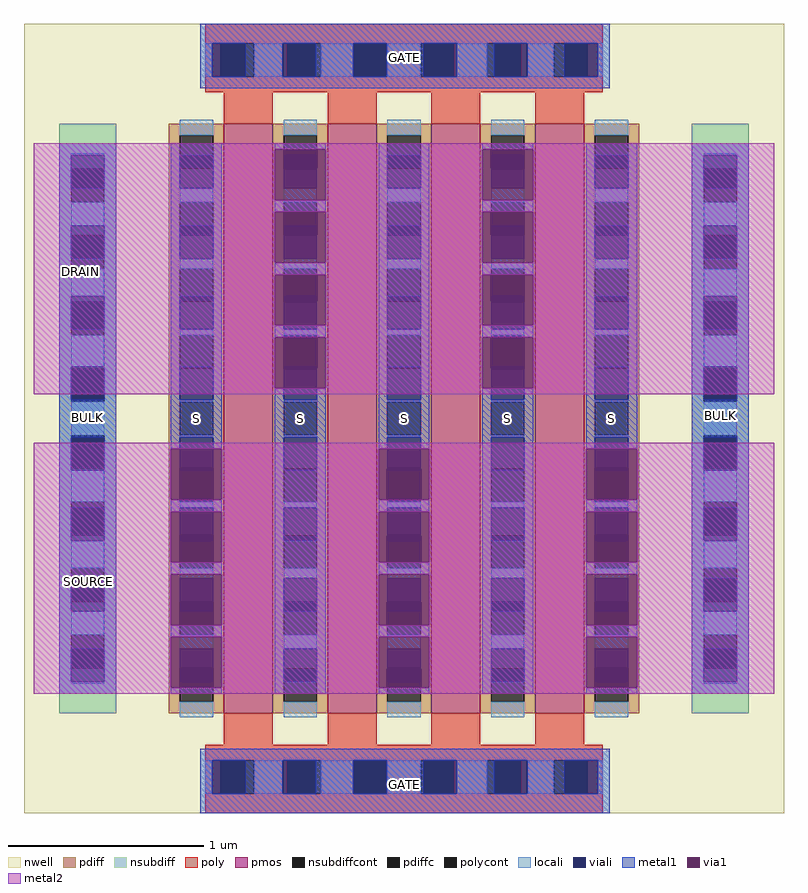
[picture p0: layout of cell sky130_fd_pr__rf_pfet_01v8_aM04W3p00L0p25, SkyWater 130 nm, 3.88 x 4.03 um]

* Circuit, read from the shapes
.subckt sky130_fd_pr__rf_pfet_01v8_aM04W3p00L0p25 BULK DRAIN GATE SOURCE
XM1 DRAIN GATE SOURCE BULK sky130_fd_pr__pfet_01v8 w=3.01 l=0.25 m=4
.ends

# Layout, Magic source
magic
tech sky130A
magscale 1 2
<< nwell >>
rect 0 0 776 806
<< pmos >>
rect 204 102 254 704
rect 310 102 360 704
rect 416 102 466 704
rect 522 102 572 704
<< pdiff >>
rect 148 692 204 704
rect 148 658 159 692
rect 193 658 204 692
rect 148 624 204 658
rect 148 590 159 624
rect 193 590 204 624
rect 148 556 204 590
rect 148 522 159 556
rect 193 522 204 556
rect 148 488 204 522
rect 148 454 159 488
rect 193 454 204 488
rect 148 420 204 454
rect 148 386 159 420
rect 193 386 204 420
rect 148 352 204 386
rect 148 318 159 352
rect 193 318 204 352
rect 148 284 204 318
rect 148 250 159 284
rect 193 250 204 284
rect 148 216 204 250
rect 148 182 159 216
rect 193 182 204 216
rect 148 148 204 182
rect 148 114 159 148
rect 193 114 204 148
rect 148 102 204 114
rect 254 692 310 704
rect 254 658 265 692
rect 299 658 310 692
rect 254 624 310 658
rect 254 590 265 624
rect 299 590 310 624
rect 254 556 310 590
rect 254 522 265 556
rect 299 522 310 556
rect 254 488 310 522
rect 254 454 265 488
rect 299 454 310 488
rect 254 420 310 454
rect 254 386 265 420
rect 299 386 310 420
rect 254 352 310 386
rect 254 318 265 352
rect 299 318 310 352
rect 254 284 310 318
rect 254 250 265 284
rect 299 250 310 284
rect 254 216 310 250
rect 254 182 265 216
rect 299 182 310 216
rect 254 148 310 182
rect 254 114 265 148
rect 299 114 310 148
rect 254 102 310 114
rect 360 692 416 704
rect 360 658 371 692
rect 405 658 416 692
rect 360 624 416 658
rect 360 590 371 624
rect 405 590 416 624
rect 360 556 416 590
rect 360 522 371 556
rect 405 522 416 556
rect 360 488 416 522
rect 360 454 371 488
rect 405 454 416 488
rect 360 420 416 454
rect 360 386 371 420
rect 405 386 416 420
rect 360 352 416 386
rect 360 318 371 352
rect 405 318 416 352
rect 360 284 416 318
rect 360 250 371 284
rect 405 250 416 284
rect 360 216 416 250
rect 360 182 371 216
rect 405 182 416 216
rect 360 148 416 182
rect 360 114 371 148
rect 405 114 416 148
rect 360 102 416 114
rect 466 692 522 704
rect 466 658 477 692
rect 511 658 522 692
rect 466 624 522 658
rect 466 590 477 624
rect 511 590 522 624
rect 466 556 522 590
rect 466 522 477 556
rect 511 522 522 556
rect 466 488 522 522
rect 466 454 477 488
rect 511 454 522 488
rect 466 420 522 454
rect 466 386 477 420
rect 511 386 522 420
rect 466 352 522 386
rect 466 318 477 352
rect 511 318 522 352
rect 466 284 522 318
rect 466 250 477 284
rect 511 250 522 284
rect 466 216 522 250
rect 466 182 477 216
rect 511 182 522 216
rect 466 148 522 182
rect 466 114 477 148
rect 511 114 522 148
rect 466 102 522 114
rect 572 692 628 704
rect 572 658 583 692
rect 617 658 628 692
rect 572 624 628 658
rect 572 590 583 624
rect 617 590 628 624
rect 572 556 628 590
rect 572 522 583 556
rect 617 522 628 556
rect 572 488 628 522
rect 572 454 583 488
rect 617 454 628 488
rect 572 420 628 454
rect 572 386 583 420
rect 617 386 628 420
rect 572 352 628 386
rect 572 318 583 352
rect 617 318 628 352
rect 572 284 628 318
rect 572 250 583 284
rect 617 250 628 284
rect 572 216 628 250
rect 572 182 583 216
rect 617 182 628 216
rect 572 148 628 182
rect 572 114 583 148
rect 617 114 628 148
rect 572 102 628 114
<< pdiffc >>
rect 159 658 193 692
rect 159 590 193 624
rect 159 522 193 556
rect 159 454 193 488
rect 159 386 193 420
rect 159 318 193 352
rect 159 250 193 284
rect 159 182 193 216
rect 159 114 193 148
rect 265 658 299 692
rect 265 590 299 624
rect 265 522 299 556
rect 265 454 299 488
rect 265 386 299 420
rect 265 318 299 352
rect 265 250 299 284
rect 265 182 299 216
rect 265 114 299 148
rect 371 658 405 692
rect 371 590 405 624
rect 371 522 405 556
rect 371 454 405 488
rect 371 386 405 420
rect 371 318 405 352
rect 371 250 405 284
rect 371 182 405 216
rect 371 114 405 148
rect 477 658 511 692
rect 477 590 511 624
rect 477 522 511 556
rect 477 454 511 488
rect 477 386 511 420
rect 477 318 511 352
rect 477 250 511 284
rect 477 182 511 216
rect 477 114 511 148
rect 583 658 617 692
rect 583 590 617 624
rect 583 522 617 556
rect 583 454 617 488
rect 583 386 617 420
rect 583 318 617 352
rect 583 250 617 284
rect 583 182 617 216
rect 583 114 617 148
<< nsubdiff >>
rect 36 658 94 704
rect 36 624 48 658
rect 82 624 94 658
rect 36 590 94 624
rect 36 556 48 590
rect 82 556 94 590
rect 36 522 94 556
rect 36 488 48 522
rect 82 488 94 522
rect 36 454 94 488
rect 36 420 48 454
rect 82 420 94 454
rect 36 386 94 420
rect 36 352 48 386
rect 82 352 94 386
rect 36 318 94 352
rect 36 284 48 318
rect 82 284 94 318
rect 36 250 94 284
rect 36 216 48 250
rect 82 216 94 250
rect 36 182 94 216
rect 36 148 48 182
rect 82 148 94 182
rect 36 102 94 148
rect 682 658 740 704
rect 682 624 694 658
rect 728 624 740 658
rect 682 590 740 624
rect 682 556 694 590
rect 728 556 740 590
rect 682 522 740 556
rect 682 488 694 522
rect 728 488 740 522
rect 682 454 740 488
rect 682 420 694 454
rect 728 420 740 454
rect 682 386 740 420
rect 682 352 694 386
rect 728 352 740 386
rect 682 318 740 352
rect 682 284 694 318
rect 728 284 740 318
rect 682 250 740 284
rect 682 216 694 250
rect 728 216 740 250
rect 682 182 740 216
rect 682 148 694 182
rect 728 148 740 182
rect 682 102 740 148
<< nsubdiffcont >>
rect 48 624 82 658
rect 48 556 82 590
rect 48 488 82 522
rect 48 420 82 454
rect 48 352 82 386
rect 48 284 82 318
rect 48 216 82 250
rect 48 148 82 182
rect 694 624 728 658
rect 694 556 728 590
rect 694 488 728 522
rect 694 420 728 454
rect 694 352 728 386
rect 694 284 728 318
rect 694 216 728 250
rect 694 148 728 182
<< poly >>
rect 185 786 591 806
rect 185 752 201 786
rect 235 752 269 786
rect 303 752 337 786
rect 371 752 405 786
rect 439 752 473 786
rect 507 752 541 786
rect 575 752 591 786
rect 185 736 591 752
rect 204 704 254 736
rect 310 704 360 736
rect 416 704 466 736
rect 522 704 572 736
rect 204 70 254 102
rect 310 70 360 102
rect 416 70 466 102
rect 522 70 572 102
rect 185 54 591 70
rect 185 20 201 54
rect 235 20 269 54
rect 303 20 337 54
rect 371 20 405 54
rect 439 20 473 54
rect 507 20 541 54
rect 575 20 591 54
rect 185 0 591 20
<< polycont >>
rect 201 752 235 786
rect 269 752 303 786
rect 337 752 371 786
rect 405 752 439 786
rect 473 752 507 786
rect 541 752 575 786
rect 201 20 235 54
rect 269 20 303 54
rect 337 20 371 54
rect 405 20 439 54
rect 473 20 507 54
rect 541 20 575 54
<< locali >>
rect 185 752 192 786
rect 235 752 264 786
rect 303 752 336 786
rect 371 752 405 786
rect 442 752 473 786
rect 514 752 541 786
rect 586 752 591 786
rect 159 692 193 708
rect 48 672 82 674
rect 48 600 82 624
rect 48 528 82 556
rect 48 456 82 488
rect 48 386 82 420
rect 48 318 82 350
rect 48 250 82 278
rect 48 182 82 206
rect 48 132 82 134
rect 159 624 193 638
rect 159 556 193 566
rect 159 488 193 494
rect 159 420 193 422
rect 159 384 193 386
rect 159 312 193 318
rect 159 240 193 250
rect 159 168 193 182
rect 159 98 193 114
rect 265 692 299 708
rect 265 624 299 638
rect 265 556 299 566
rect 265 488 299 494
rect 265 420 299 422
rect 265 384 299 386
rect 265 312 299 318
rect 265 240 299 250
rect 265 168 299 182
rect 265 98 299 114
rect 371 692 405 708
rect 371 624 405 638
rect 371 556 405 566
rect 371 488 405 494
rect 371 420 405 422
rect 371 384 405 386
rect 371 312 405 318
rect 371 240 405 250
rect 371 168 405 182
rect 371 98 405 114
rect 477 692 511 708
rect 477 624 511 638
rect 477 556 511 566
rect 477 488 511 494
rect 477 420 511 422
rect 477 384 511 386
rect 477 312 511 318
rect 477 240 511 250
rect 477 168 511 182
rect 477 98 511 114
rect 583 692 617 708
rect 583 624 617 638
rect 583 556 617 566
rect 583 488 617 494
rect 583 420 617 422
rect 583 384 617 386
rect 583 312 617 318
rect 583 240 617 250
rect 583 168 617 182
rect 694 672 728 674
rect 694 600 728 624
rect 694 528 728 556
rect 694 456 728 488
rect 694 386 728 420
rect 694 318 728 350
rect 694 250 728 278
rect 694 182 728 206
rect 694 132 728 134
rect 583 98 617 114
rect 185 20 192 54
rect 235 20 264 54
rect 303 20 336 54
rect 371 20 405 54
rect 442 20 473 54
rect 514 20 541 54
rect 586 20 591 54
<< viali >>
rect 192 752 201 786
rect 201 752 226 786
rect 264 752 269 786
rect 269 752 298 786
rect 336 752 337 786
rect 337 752 370 786
rect 408 752 439 786
rect 439 752 442 786
rect 480 752 507 786
rect 507 752 514 786
rect 552 752 575 786
rect 575 752 586 786
rect 48 658 82 672
rect 48 638 82 658
rect 48 590 82 600
rect 48 566 82 590
rect 48 522 82 528
rect 48 494 82 522
rect 48 454 82 456
rect 48 422 82 454
rect 48 352 82 384
rect 48 350 82 352
rect 48 284 82 312
rect 48 278 82 284
rect 48 216 82 240
rect 48 206 82 216
rect 48 148 82 168
rect 48 134 82 148
rect 159 658 193 672
rect 159 638 193 658
rect 159 590 193 600
rect 159 566 193 590
rect 159 522 193 528
rect 159 494 193 522
rect 159 454 193 456
rect 159 422 193 454
rect 159 352 193 384
rect 159 350 193 352
rect 159 284 193 312
rect 159 278 193 284
rect 159 216 193 240
rect 159 206 193 216
rect 159 148 193 168
rect 159 134 193 148
rect 265 658 299 672
rect 265 638 299 658
rect 265 590 299 600
rect 265 566 299 590
rect 265 522 299 528
rect 265 494 299 522
rect 265 454 299 456
rect 265 422 299 454
rect 265 352 299 384
rect 265 350 299 352
rect 265 284 299 312
rect 265 278 299 284
rect 265 216 299 240
rect 265 206 299 216
rect 265 148 299 168
rect 265 134 299 148
rect 371 658 405 672
rect 371 638 405 658
rect 371 590 405 600
rect 371 566 405 590
rect 371 522 405 528
rect 371 494 405 522
rect 371 454 405 456
rect 371 422 405 454
rect 371 352 405 384
rect 371 350 405 352
rect 371 284 405 312
rect 371 278 405 284
rect 371 216 405 240
rect 371 206 405 216
rect 371 148 405 168
rect 371 134 405 148
rect 477 658 511 672
rect 477 638 511 658
rect 477 590 511 600
rect 477 566 511 590
rect 477 522 511 528
rect 477 494 511 522
rect 477 454 511 456
rect 477 422 511 454
rect 477 352 511 384
rect 477 350 511 352
rect 477 284 511 312
rect 477 278 511 284
rect 477 216 511 240
rect 477 206 511 216
rect 477 148 511 168
rect 477 134 511 148
rect 583 658 617 672
rect 583 638 617 658
rect 583 590 617 600
rect 583 566 617 590
rect 583 522 617 528
rect 583 494 617 522
rect 583 454 617 456
rect 583 422 617 454
rect 583 352 617 384
rect 583 350 617 352
rect 583 284 617 312
rect 583 278 617 284
rect 583 216 617 240
rect 583 206 617 216
rect 583 148 617 168
rect 583 134 617 148
rect 694 658 728 672
rect 694 638 728 658
rect 694 590 728 600
rect 694 566 728 590
rect 694 522 728 528
rect 694 494 728 522
rect 694 454 728 456
rect 694 422 728 454
rect 694 352 728 384
rect 694 350 728 352
rect 694 284 728 312
rect 694 278 728 284
rect 694 216 728 240
rect 694 206 728 216
rect 694 148 728 168
rect 694 134 728 148
rect 192 20 201 54
rect 201 20 226 54
rect 264 20 269 54
rect 269 20 298 54
rect 336 20 337 54
rect 337 20 370 54
rect 408 20 439 54
rect 439 20 442 54
rect 480 20 507 54
rect 507 20 514 54
rect 552 20 575 54
rect 575 20 586 54
<< metal1 >>
rect 180 786 598 806
rect 180 752 192 786
rect 226 752 264 786
rect 298 752 336 786
rect 370 752 408 786
rect 442 752 480 786
rect 514 752 552 786
rect 586 752 598 786
rect 180 740 598 752
rect 36 672 94 684
rect 36 638 48 672
rect 82 638 94 672
rect 36 600 94 638
rect 36 566 48 600
rect 82 566 94 600
rect 36 528 94 566
rect 36 494 48 528
rect 82 494 94 528
rect 36 456 94 494
rect 36 422 48 456
rect 82 422 94 456
rect 36 384 94 422
rect 36 350 48 384
rect 82 350 94 384
rect 36 312 94 350
rect 36 278 48 312
rect 82 278 94 312
rect 36 240 94 278
rect 36 206 48 240
rect 82 206 94 240
rect 36 168 94 206
rect 36 134 48 168
rect 82 134 94 168
rect 36 122 94 134
rect 150 672 202 684
rect 150 638 159 672
rect 193 638 202 672
rect 150 600 202 638
rect 150 566 159 600
rect 193 566 202 600
rect 150 528 202 566
rect 150 494 159 528
rect 193 494 202 528
rect 150 456 202 494
rect 150 422 159 456
rect 193 422 202 456
rect 150 384 202 422
rect 150 372 159 384
rect 193 372 202 384
rect 150 312 202 320
rect 150 308 159 312
rect 193 308 202 312
rect 150 244 202 256
rect 150 180 202 192
rect 150 122 202 128
rect 256 678 308 684
rect 256 614 308 626
rect 256 550 308 562
rect 256 494 265 498
rect 299 494 308 498
rect 256 486 308 494
rect 256 422 265 434
rect 299 422 308 434
rect 256 384 308 422
rect 256 350 265 384
rect 299 350 308 384
rect 256 312 308 350
rect 256 278 265 312
rect 299 278 308 312
rect 256 240 308 278
rect 256 206 265 240
rect 299 206 308 240
rect 256 168 308 206
rect 256 134 265 168
rect 299 134 308 168
rect 256 122 308 134
rect 362 672 414 684
rect 362 638 371 672
rect 405 638 414 672
rect 362 600 414 638
rect 362 566 371 600
rect 405 566 414 600
rect 362 528 414 566
rect 362 494 371 528
rect 405 494 414 528
rect 362 456 414 494
rect 362 422 371 456
rect 405 422 414 456
rect 362 384 414 422
rect 362 372 371 384
rect 405 372 414 384
rect 362 312 414 320
rect 362 308 371 312
rect 405 308 414 312
rect 362 244 414 256
rect 362 180 414 192
rect 362 122 414 128
rect 468 678 520 684
rect 468 614 520 626
rect 468 550 520 562
rect 468 494 477 498
rect 511 494 520 498
rect 468 486 520 494
rect 468 422 477 434
rect 511 422 520 434
rect 468 384 520 422
rect 468 350 477 384
rect 511 350 520 384
rect 468 312 520 350
rect 468 278 477 312
rect 511 278 520 312
rect 468 240 520 278
rect 468 206 477 240
rect 511 206 520 240
rect 468 168 520 206
rect 468 134 477 168
rect 511 134 520 168
rect 468 122 520 134
rect 574 672 626 684
rect 574 638 583 672
rect 617 638 626 672
rect 574 600 626 638
rect 574 566 583 600
rect 617 566 626 600
rect 574 528 626 566
rect 574 494 583 528
rect 617 494 626 528
rect 574 456 626 494
rect 574 422 583 456
rect 617 422 626 456
rect 574 384 626 422
rect 574 372 583 384
rect 617 372 626 384
rect 574 312 626 320
rect 574 308 583 312
rect 617 308 626 312
rect 574 244 626 256
rect 574 180 626 192
rect 574 122 626 128
rect 682 672 740 684
rect 682 638 694 672
rect 728 638 740 672
rect 682 600 740 638
rect 682 566 694 600
rect 728 566 740 600
rect 682 528 740 566
rect 682 494 694 528
rect 728 494 740 528
rect 682 456 740 494
rect 682 422 694 456
rect 728 422 740 456
rect 682 384 740 422
rect 682 350 694 384
rect 728 350 740 384
rect 682 312 740 350
rect 682 278 694 312
rect 728 278 740 312
rect 682 240 740 278
rect 682 206 694 240
rect 728 206 740 240
rect 682 168 740 206
rect 682 134 694 168
rect 728 134 740 168
rect 682 122 740 134
rect 180 54 598 66
rect 180 20 192 54
rect 226 20 264 54
rect 298 20 336 54
rect 370 20 408 54
rect 442 20 480 54
rect 514 20 552 54
rect 586 20 598 54
rect 180 0 598 20
<< via1 >>
rect 150 350 159 372
rect 159 350 193 372
rect 193 350 202 372
rect 150 320 202 350
rect 150 278 159 308
rect 159 278 193 308
rect 193 278 202 308
rect 150 256 202 278
rect 150 240 202 244
rect 150 206 159 240
rect 159 206 193 240
rect 193 206 202 240
rect 150 192 202 206
rect 150 168 202 180
rect 150 134 159 168
rect 159 134 193 168
rect 193 134 202 168
rect 150 128 202 134
rect 256 672 308 678
rect 256 638 265 672
rect 265 638 299 672
rect 299 638 308 672
rect 256 626 308 638
rect 256 600 308 614
rect 256 566 265 600
rect 265 566 299 600
rect 299 566 308 600
rect 256 562 308 566
rect 256 528 308 550
rect 256 498 265 528
rect 265 498 299 528
rect 299 498 308 528
rect 256 456 308 486
rect 256 434 265 456
rect 265 434 299 456
rect 299 434 308 456
rect 362 350 371 372
rect 371 350 405 372
rect 405 350 414 372
rect 362 320 414 350
rect 362 278 371 308
rect 371 278 405 308
rect 405 278 414 308
rect 362 256 414 278
rect 362 240 414 244
rect 362 206 371 240
rect 371 206 405 240
rect 405 206 414 240
rect 362 192 414 206
rect 362 168 414 180
rect 362 134 371 168
rect 371 134 405 168
rect 405 134 414 168
rect 362 128 414 134
rect 468 672 520 678
rect 468 638 477 672
rect 477 638 511 672
rect 511 638 520 672
rect 468 626 520 638
rect 468 600 520 614
rect 468 566 477 600
rect 477 566 511 600
rect 511 566 520 600
rect 468 562 520 566
rect 468 528 520 550
rect 468 498 477 528
rect 477 498 511 528
rect 511 498 520 528
rect 468 456 520 486
rect 468 434 477 456
rect 477 434 511 456
rect 511 434 520 456
rect 574 350 583 372
rect 583 350 617 372
rect 617 350 626 372
rect 574 320 626 350
rect 574 278 583 308
rect 583 278 617 308
rect 617 278 626 308
rect 574 256 626 278
rect 574 240 626 244
rect 574 206 583 240
rect 583 206 617 240
rect 617 206 626 240
rect 574 192 626 206
rect 574 168 626 180
rect 574 134 583 168
rect 583 134 617 168
rect 617 134 626 168
rect 574 128 626 134
<< metal2 >>
rect 10 678 766 684
rect 10 626 256 678
rect 308 626 468 678
rect 520 626 766 678
rect 10 614 766 626
rect 10 562 256 614
rect 308 562 468 614
rect 520 562 766 614
rect 10 550 766 562
rect 10 498 256 550
rect 308 498 468 550
rect 520 498 766 550
rect 10 486 766 498
rect 10 434 256 486
rect 308 434 468 486
rect 520 434 766 486
rect 10 428 766 434
rect 10 372 766 378
rect 10 320 150 372
rect 202 320 362 372
rect 414 320 574 372
rect 626 320 766 372
rect 10 308 766 320
rect 10 256 150 308
rect 202 256 362 308
rect 414 256 574 308
rect 626 256 766 308
rect 10 244 766 256
rect 10 192 150 244
rect 202 192 362 244
rect 414 192 574 244
rect 626 192 766 244
rect 10 180 766 192
rect 10 128 150 180
rect 202 128 362 180
rect 414 128 574 180
rect 626 128 766 180
rect 10 122 766 128
<< labels >>
flabel comment s 176 403 176 403 0 FreeSans 300 0 0 0 S
flabel comment s 176 403 176 403 0 FreeSans 300 0 0 0 S
flabel comment s 282 403 282 403 0 FreeSans 300 0 0 0 S
flabel comment s 282 403 282 403 0 FreeSans 300 0 0 0 D
flabel comment s 388 403 388 403 0 FreeSans 300 0 0 0 S
flabel comment s 388 403 388 403 0 FreeSans 300 0 0 0 S
flabel comment s 494 403 494 403 0 FreeSans 300 0 0 0 S
flabel comment s 494 403 494 403 0 FreeSans 300 0 0 0 D
flabel comment s 600 403 600 403 0 FreeSans 300 0 0 0 S
flabel metal1 s 694 401 728 412 0 FreeSans 100 0 0 0 BULK
port 1 nsew
flabel metal1 s 359 759 417 784 0 FreeSans 100 0 0 0 GATE
port 3 nsew
flabel metal1 s 359 17 417 42 0 FreeSans 100 0 0 0 GATE
port 3 nsew
flabel metal1 s 48 399 82 410 0 FreeSans 100 0 0 0 BULK
port 1 nsew
flabel metal2 s 50 520 65 586 0 FreeSans 100 0 0 0 DRAIN
port 2 nsew
flabel metal2 s 59 205 73 268 0 FreeSans 100 0 0 0 SOURCE
port 4 nsew
<< properties >>
string GDS_FILE $PDKPATH/libs.ref/sky130_fd_pr/gds/sky130_fd_pr.gds
string GDS_END 9463428
string GDS_START 9447606
<< end >>
